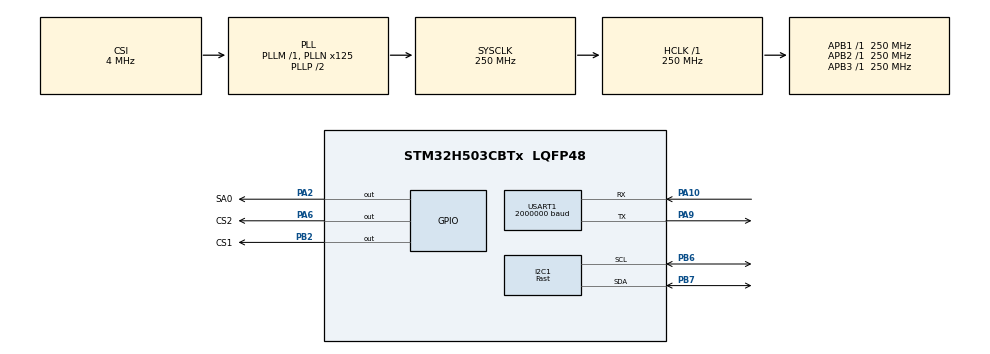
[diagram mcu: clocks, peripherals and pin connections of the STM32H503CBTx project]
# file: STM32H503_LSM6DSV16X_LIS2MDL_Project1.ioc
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I2C1.I2C_Speed_Mode=I2C_Fast
I2C1.Timing=0x10C043E5
Mcu.Family=STM32H5
Mcu.Name=STM32H503CBTx
Mcu.Package=LQFP48
NVIC.PriorityGroup=NVIC_PRIORITYGROUP_4
PA10.Mode=Asynchronous
PA10.Signal=USART1_RX
PA2.GPIO_Label=SA0
PA2.Signal=GPIO_Output
PA6.GPIO_Label=CS2
PA6.Signal=GPIO_Output
PA9.Mode=Asynchronous
PA9.Signal=USART1_TX
PB2.GPIO_Label=CS1
PB2.Signal=GPIO_Output
PB6.Mode=I2C
PB6.Signal=I2C1_SCL
PB7.Mode=I2C
PB7.Signal=I2C1_SDA
ProjectManager.HeapSize=0x2000
ProjectManager.StackSize=0x4000
ProjectManager.TargetToolchain=MDK-ARM V5.37
RCC.ADCFreq_Value=250000000
RCC.AHBFreq_Value=250000000
RCC.APB1Freq_Value=250000000
RCC.APB1TimFreq_Value=250000000
RCC.APB2Freq_Value=250000000
RCC.APB2TimFreq_Value=250000000
RCC.APB3Freq_Value=250000000
RCC.CSI_VALUE=4000000
RCC.CortexFreq_Value=250000000
RCC.EPOD_VALUE=4000000
RCC.HCLKFreq_Value=250000000
RCC.HSE_VALUE=25000000
RCC.HSI48_VALUE=48000000
RCC.HSI_VALUE=64000000
RCC.LSE_VALUE=32768
RCC.LSIRC_VALUE=32000
RCC.PLL2FRACN=0
RCC.PLLFRACN=0
RCC.PLLN=125
RCC.SYSCLKFreq_VALUE=250000000
RCC.SYSCLKSource=RCC_SYSCLKSOURCE_PLLCLK
RCC.USBFreq_Value=48000000
RCC.VCOOutputFreq_Value=500000000
USART1.BaudRate=2000000
USART1.VirtualMode-Asynchronous=VM_ASYNC
VP_BOOTPATH_VS_BOOTPATH.Mode=BP_Activate
VP_CORTEX_M33_NS_VS_Hclk.Mode=Hclk_Mode
VP_ICACHE_VS_ICACHE.Mode=DirectMappedCache
VP_MEMORYMAP_VS_MEMORYMAP.Mode=CurAppReg
VP_PWR_VS_DBSignals.Mode=DisableDeadBatterySignals
VP_PWR_VS_LPOM.Mode=PowerOptimisation
VP_PWR_VS_SECSignals.Mode=Security/Privilege
board=custom

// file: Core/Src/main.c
/* USER CODE BEGIN Header */
/**
  ******************************************************************************
  * @file           : main.c
  * @brief          : Main program body
  ******************************************************************************
  * @attention
  *
  * Copyright (c) 2025 STMicroelectronics.
  * All rights reserved.
  *
  * This software is licensed under terms that can be found in the LICENSE file
  * in the root directory of this software component.
  * If no LICENSE file comes with this software, it is provided AS-IS.
  *
  ******************************************************************************
  */
/* USER CODE END Header */
#include "main.h"
#include "i2c.h"
#include "icache.h"
#include "memorymap.h"
#include "usart.h"
#include "gpio.h"

/* USER CODE BEGIN Includes */
#include "stdio.h"
#include "lsm6dsv16x_reg.h"
#include <string.h>
/* USER CODE END Includes */

void SystemClock_Config(void);
/* USER CODE BEGIN PFP */
int fputc(int ch, FILE *f){
	HAL_UART_Transmit(&huart1 , (uint8_t *)&ch, 1, 0xFFFF);
	return ch;
}
/* USER CODE END PFP */

/* USER CODE BEGIN 0 */
#define SENSOR_BUS hi2c1

/* Private macro -------------------------------------------------------------*/
#define    BOOT_TIME            10 //ms

/* Private variables ---------------------------------------------------------*/
static int16_t data_raw_acceleration[3];
static int16_t data_raw_angular_rate[3];
static int16_t data_raw_temperature;
static double_t acceleration_mg[3];
static double_t angular_rate_mdps[3];
static double_t temperature_degC;
static uint8_t whoamI;
static uint8_t tx_buffer[1000];

static lsm6dsv16x_filt_settling_mask_t filt_settling_mask;

/* Extern variables ----------------------------------------------------------*/

/* Private functions ---------------------------------------------------------*/

/*
 *   WARNING:
 *   Functions declare in this section are defined at the end of this file
 *   and are strictly related to the hardware platform used.
 *
 */
static int32_t platform_write(void *handle, uint8_t reg, const uint8_t *bufp,
                              uint16_t len);
static int32_t platform_read(void *handle, uint8_t reg, uint8_t *bufp,
                             uint16_t len);
static void tx_com( uint8_t *tx_buffer, uint16_t len );
static void platform_delay(uint32_t ms);
static void platform_init(void *handle);

/* USER CODE END 0 */

int main(void)
{

  /* MCU Configuration--------------------------------------------------------*/

  /* Reset of all peripherals, Initializes the Flash interface and the Systick. */
  HAL_Init();

  /* Configure the system clock */
  SystemClock_Config();

  /* Initialize all configured peripherals */
  MX_GPIO_Init();
  MX_I2C1_Init();
  MX_ICACHE_Init();
  MX_USART1_UART_Init();
  /* USER CODE BEGIN 2 */
	printf("HELLO!\n");
  HAL_GPIO_WritePin(CS1_GPIO_Port, CS1_Pin, GPIO_PIN_SET);
  HAL_GPIO_WritePin(SA0_GPIO_Port, SA0_Pin, GPIO_PIN_RESET);
  HAL_GPIO_WritePin(CS2_GPIO_Port, CS2_Pin, GPIO_PIN_SET);
	HAL_Delay(100);

  lsm6dsv16x_reset_t rst;
  stmdev_ctx_t dev_ctx;
  /* Initialize mems driver interface */
  dev_ctx.write_reg = platform_write;
  dev_ctx.read_reg = platform_read;
  dev_ctx.mdelay = platform_delay;
  dev_ctx.handle = &SENSOR_BUS;

  /* Init test platform */
//  platform_init(dev_ctx.handle);
  /* Wait sensor boot time */
  platform_delay(BOOT_TIME);

  /* Check device ID */
  lsm6dsv16x_device_id_get(&dev_ctx, &whoamI);
	printf("LSM6DSV16X_ID=0x%x,whoamI=0x%x",LSM6DSV16X_ID,whoamI);
  if (whoamI != LSM6DSV16X_ID)
    while (1);

  /* Restore default configuration */
  lsm6dsv16x_reset_set(&dev_ctx, LSM6DSV16X_RESTORE_CTRL_REGS);
  do {
    lsm6dsv16x_reset_get(&dev_ctx, &rst);
  } while (rst != LSM6DSV16X_READY);

  /* Enable Block Data Update */
  lsm6dsv16x_block_data_update_set(&dev_ctx, PROPERTY_ENABLE);
  /* Set Output Data Rate.
   * Selected data rate have to be equal or greater with respect
   * with MLC data rate.
   */
  lsm6dsv16x_xl_data_rate_set(&dev_ctx, LSM6DSV16X_ODR_AT_7Hz5);
  lsm6dsv16x_gy_data_rate_set(&dev_ctx, LSM6DSV16X_ODR_AT_15Hz);
  /* Set full scale */
  lsm6dsv16x_xl_full_scale_set(&dev_ctx, LSM6DSV16X_2g);
  lsm6dsv16x_gy_full_scale_set(&dev_ctx, LSM6DSV16X_2000dps);
  /* Configure filtering chain */
  filt_settling_mask.drdy = PROPERTY_ENABLE;
  filt_settling_mask.irq_xl = PROPERTY_ENABLE;
  filt_settling_mask.irq_g = PROPERTY_ENABLE;
  lsm6dsv16x_filt_settling_mask_set(&dev_ctx, filt_settling_mask);
  lsm6dsv16x_filt_gy_lp1_set(&dev_ctx, PROPERTY_ENABLE);
  lsm6dsv16x_filt_gy_lp1_bandwidth_set(&dev_ctx, LSM6DSV16X_GY_ULTRA_LIGHT);
  lsm6dsv16x_filt_xl_lp2_set(&dev_ctx, PROPERTY_ENABLE);
  lsm6dsv16x_filt_xl_lp2_bandwidth_set(&dev_ctx, LSM6DSV16X_XL_STRONG);
  /* USER CODE END 2 */

  /* Infinite loop */
  /* USER CODE BEGIN WHILE */
  while (1)
  {
    lsm6dsv16x_data_ready_t drdy;

    /* Read output only if new xl value is available */
    lsm6dsv16x_flag_data_ready_get(&dev_ctx, &drdy);

    if (drdy.drdy_xl) {
      /* Read acceleration field data */
      memset(data_raw_acceleration, 0x00, 3 * sizeof(int16_t));
      lsm6dsv16x_acceleration_raw_get(&dev_ctx, data_raw_acceleration);
      acceleration_mg[0] =
        lsm6dsv16x_from_fs2_to_mg(data_raw_acceleration[0]);
      acceleration_mg[1] =
        lsm6dsv16x_from_fs2_to_mg(data_raw_acceleration[1]);
      acceleration_mg[2] =
        lsm6dsv16x_from_fs2_to_mg(data_raw_acceleration[2]);
      printf( "Acceleration [mg]:%4.2f\t%4.2f\t%4.2f\r\n",
              acceleration_mg[0], acceleration_mg[1], acceleration_mg[2]);

    }

    /* Read output only if new xl value is available */
    if (drdy.drdy_gy) {
      /* Read angular rate field data */
      memset(data_raw_angular_rate, 0x00, 3 * sizeof(int16_t));
      lsm6dsv16x_angular_rate_raw_get(&dev_ctx, data_raw_angular_rate);
      angular_rate_mdps[0] =
        lsm6dsv16x_from_fs2000_to_mdps(data_raw_angular_rate[0]);
      angular_rate_mdps[1] =
        lsm6dsv16x_from_fs2000_to_mdps(data_raw_angular_rate[1]);
      angular_rate_mdps[2] =
        lsm6dsv16x_from_fs2000_to_mdps(data_raw_angular_rate[2]);
      printf("Angular rate [mdps]:%4.2f\t%4.2f\t%4.2f\r\n",
              angular_rate_mdps[0], angular_rate_mdps[1], angular_rate_mdps[2]);
    }

//    if (drdy.drdy_temp) {
//      /* Read temperature data */
//      memset(&data_raw_temperature, 0x00, sizeof(int16_t));
//      lsm6dsv16x_temperature_raw_get(&dev_ctx, &data_raw_temperature);
//      temperature_degC = lsm6dsv16x_from_lsb_to_celsius(
//                           data_raw_temperature);
//      printf("Temperature [degC]:%6.2f\r\n", temperature_degC);
//    }

    /* USER CODE END WHILE */

  }
}

void SystemClock_Config(void)
{
  RCC_OscInitTypeDef RCC_OscInitStruct = {0};
  RCC_ClkInitTypeDef RCC_ClkInitStruct = {0};

  /** Configure the main internal regulator output voltage
  */
  __HAL_PWR_VOLTAGESCALING_CONFIG(PWR_REGULATOR_VOLTAGE_SCALE0);

  while(!__HAL_PWR_GET_FLAG(PWR_FLAG_VOSRDY)) {}

  /** Initializes the RCC Oscillators according to the specified parameters
  * in the RCC_OscInitTypeDef structure.
  */
  RCC_OscInitStruct.OscillatorType = RCC_OSCILLATORTYPE_CSI;
  RCC_OscInitStruct.CSIState = RCC_CSI_ON;
  RCC_OscInitStruct.CSICalibrationValue = RCC_CSICALIBRATION_DEFAULT;
  RCC_OscInitStruct.PLL.PLLState = RCC_PLL_ON;
  RCC_OscInitStruct.PLL.PLLSource = RCC_PLL1_SOURCE_CSI;
  RCC_OscInitStruct.PLL.PLLM = 1;
  RCC_OscInitStruct.PLL.PLLN = 125;
  RCC_OscInitStruct.PLL.PLLP = 2;
  RCC_OscInitStruct.PLL.PLLQ = 2;
  RCC_OscInitStruct.PLL.PLLR = 2;
  RCC_OscInitStruct.PLL.PLLRGE = RCC_PLL1_VCIRANGE_2;
  RCC_OscInitStruct.PLL.PLLVCOSEL = RCC_PLL1_VCORANGE_WIDE;
  RCC_OscInitStruct.PLL.PLLFRACN = 0;
  if (HAL_RCC_OscConfig(&RCC_OscInitStruct) != HAL_OK)
  {
    Error_Handler();
  }

  /** Initializes the CPU, AHB and APB buses clocks
  */
  RCC_ClkInitStruct.ClockType = RCC_CLOCKTYPE_HCLK|RCC_CLOCKTYPE_SYSCLK
                              |RCC_CLOCKTYPE_PCLK1|RCC_CLOCKTYPE_PCLK2
                              |RCC_CLOCKTYPE_PCLK3;
  RCC_ClkInitStruct.SYSCLKSource = RCC_SYSCLKSOURCE_PLLCLK;
  RCC_ClkInitStruct.AHBCLKDivider = RCC_SYSCLK_DIV1;
  RCC_ClkInitStruct.APB1CLKDivider = RCC_HCLK_DIV1;
  RCC_ClkInitStruct.APB2CLKDivider = RCC_HCLK_DIV1;
  RCC_ClkInitStruct.APB3CLKDivider = RCC_HCLK_DIV1;

  if (HAL_RCC_ClockConfig(&RCC_ClkInitStruct, FLASH_LATENCY_5) != HAL_OK)
  {
    Error_Handler();
  }

  /** Configure the programming delay
  */
  __HAL_FLASH_SET_PROGRAM_DELAY(FLASH_PROGRAMMING_DELAY_2);
}

/* USER CODE BEGIN 4 */
static int32_t platform_write(void *handle, uint8_t reg, const uint8_t *bufp,
                              uint16_t len)
{
  HAL_I2C_Mem_Write(handle, LSM6DSV16X_I2C_ADD_L, reg,
                    I2C_MEMADD_SIZE_8BIT, (uint8_t*) bufp, len, 1000);
  return 0;
}

static int32_t platform_read(void *handle, uint8_t reg, uint8_t *bufp,
                             uint16_t len)
{
  HAL_I2C_Mem_Read(handle, LSM6DSV16X_I2C_ADD_L, reg,
                   I2C_MEMADD_SIZE_8BIT, bufp, len, 1000);
  return 0;
}

static void platform_delay(uint32_t ms)
{
  HAL_Delay(ms);
}
/* USER CODE END 4 */

void Error_Handler(void)
{
  __disable_irq();
  while (1)
  {
  }
}
